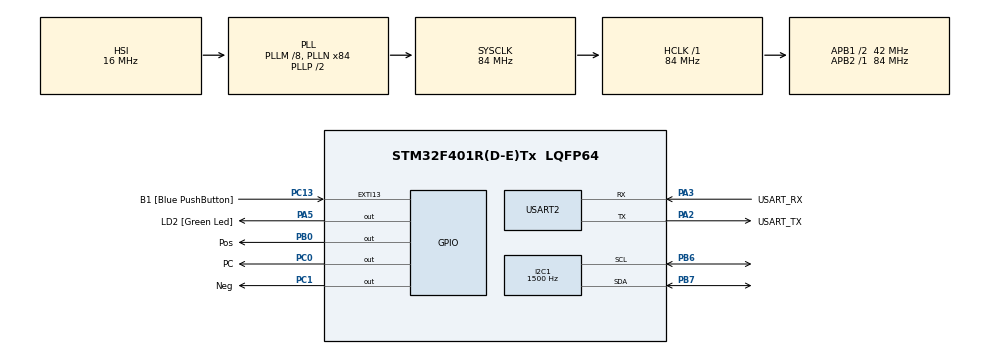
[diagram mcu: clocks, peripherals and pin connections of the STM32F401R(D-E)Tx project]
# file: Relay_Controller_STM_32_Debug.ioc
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Dma.I2C1_RX.1.Direction=DMA_PERIPH_TO_MEMORY
Dma.I2C1_RX.1.FIFOMode=DMA_FIFOMODE_DISABLE
Dma.I2C1_RX.1.Instance=DMA1_Stream0
Dma.I2C1_RX.1.MemDataAlignment=DMA_MDATAALIGN_BYTE
Dma.I2C1_RX.1.MemInc=DMA_MINC_ENABLE
Dma.I2C1_RX.1.Mode=DMA_NORMAL
Dma.I2C1_RX.1.PeriphDataAlignment=DMA_PDATAALIGN_BYTE
Dma.I2C1_RX.1.PeriphInc=DMA_PINC_DISABLE
Dma.I2C1_RX.1.Priority=DMA_PRIORITY_LOW
Dma.I2C1_TX.0.Direction=DMA_MEMORY_TO_PERIPH
Dma.I2C1_TX.0.FIFOMode=DMA_FIFOMODE_DISABLE
Dma.I2C1_TX.0.Instance=DMA1_Stream6
Dma.I2C1_TX.0.MemDataAlignment=DMA_MDATAALIGN_BYTE
Dma.I2C1_TX.0.MemInc=DMA_MINC_ENABLE
Dma.I2C1_TX.0.Mode=DMA_NORMAL
Dma.I2C1_TX.0.PeriphDataAlignment=DMA_PDATAALIGN_BYTE
Dma.I2C1_TX.0.PeriphInc=DMA_PINC_DISABLE
Dma.I2C1_TX.0.Priority=DMA_PRIORITY_LOW
Dma.Request0=I2C1_TX
Dma.Request1=I2C1_RX
I2C1.ClockSpeed=1500
Mcu.Family=STM32F4
Mcu.Name=STM32F401R(D-E)Tx
Mcu.Package=LQFP64
NVIC.DMA1_Stream0_IRQn=true\:0\:0\:false\:false\:true\:false\:true\:true
NVIC.DMA1_Stream6_IRQn=true\:0\:0\:false\:false\:true\:false\:true\:true
NVIC.I2C1_ER_IRQn=true\:0\:0\:false\:false\:true\:true\:true\:true
NVIC.I2C1_EV_IRQn=true\:0\:0\:false\:false\:true\:true\:true\:true
NVIC.PriorityGroup=NVIC_PRIORITYGROUP_4
PA13.GPIO_Label=TMS
PA13.Mode=Trace_Asynchronous_SW
PA13.Signal=SYS_JTMS-SWDIO
PA14.GPIO_Label=TCK
PA14.Mode=Trace_Asynchronous_SW
PA14.Signal=SYS_JTCK-SWCLK
PA2.GPIO_Label=USART_TX
PA2.GPIO_Mode=GPIO_MODE_AF_PP
PA2.GPIO_PuPd=GPIO_NOPULL
PA2.GPIO_Speed=GPIO_SPEED_FREQ_LOW
PA2.Mode=Asynchronous
PA2.Signal=USART2_TX
PA3.GPIO_Label=USART_RX
PA3.GPIO_Mode=GPIO_MODE_AF_PP
PA3.GPIO_PuPd=GPIO_NOPULL
PA3.GPIO_Speed=GPIO_SPEED_FREQ_LOW
PA3.Mode=Asynchronous
PA3.Signal=USART2_RX
PA5.GPIO_Label=LD2 [Green Led]
PA5.GPIO_Mode=GPIO_MODE_OUTPUT_PP
PA5.GPIO_PuPd=GPIO_NOPULL
PA5.GPIO_Speed=GPIO_SPEED_FREQ_LOW
PA5.Signal=GPIO_Output
PB0.GPIO_Label=Pos
PB0.Signal=GPIO_Output
PB3.GPIO_Label=SWO
PB3.Mode=Trace_Asynchronous_SW
PB3.Signal=SYS_JTDO-SWO
PB6.GPIO_Pu=GPIO_PULLUP
PB6.Mode=I2C
PB6.Signal=I2C1_SCL
PB7.GPIO_Pu=GPIO_PULLUP
PB7.Mode=I2C
PB7.Signal=I2C1_SDA
PC0.GPIO_Label=PC
PC0.Signal=GPIO_Output
PC1.GPIO_Label=Neg
PC1.Signal=GPIO_Output
PC13-ANTI_TAMP.GPIO_Label=B1 [Blue PushButton]
PC13-ANTI_TAMP.GPIO_ModeDefaultEXTI=GPIO_MODE_IT_FALLING
PC13-ANTI_TAMP.GPIO_PuPd=GPIO_NOPULL
PC13-ANTI_TAMP.Signal=GPXTI13
PC14-OSC32_IN.Mode=LSE-External-Oscillator
PC14-OSC32_IN.Signal=RCC_OSC32_IN
PC15-OSC32_OUT.Mode=LSE-External-Oscillator
PC15-OSC32_OUT.Signal=RCC_OSC32_OUT
PH0\ -\ OSC_IN.Mode=HSE-External-Clock-Source
PH0\ -\ OSC_IN.Signal=RCC_OSC_IN
PH1\ -\ OSC_OUT.Mode=HSE-External-Clock-Source
PH1\ -\ OSC_OUT.Signal=RCC_OSC_OUT
ProjectManager.HeapSize=0x200
ProjectManager.StackSize=0x400
ProjectManager.TargetToolchain=STM32CubeIDE
RCC.48MHZClocksFreq_Value=24000000
RCC.AHBFreq_Value=84000000
RCC.APB1CLKDivider=RCC_HCLK_DIV2
RCC.APB1Freq_Value=42000000
RCC.APB1TimFreq_Value=84000000
RCC.APB2Freq_Value=84000000
RCC.APB2TimFreq_Value=84000000
RCC.CortexFreq_Value=84000000
RCC.HCLKFreq_Value=84000000
RCC.HSE_VALUE=8000000
RCC.HSI_VALUE=16000000
RCC.PLLM=8
RCC.PLLN=84
RCC.PLLQ=7
RCC.SYSCLKFreq_VALUE=84000000
RCC.SYSCLKSource=RCC_SYSCLKSOURCE_PLLCLK
RCC.VCOOutputFreq_Value=168000000
USART2.VirtualMode=VM_ASYNC
board=NUCLEO-F401RE

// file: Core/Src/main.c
/* USER CODE BEGIN Header */
/**
  ******************************************************************************
  * @file           : main.c
  * @brief          : Main program body
  ******************************************************************************
  * @attention
  *
  * Copyright (c) 2025 STMicroelectronics.
  * All rights reserved.
  *
  * This software is licensed under terms that can be found in the LICENSE file
  * in the root directory of this software component.
  * If no LICENSE file comes with this software, it is provided AS-IS.
  *
  ******************************************************************************
  */
/* USER CODE END Header */
#include "main.h"

/* USER CODE BEGIN Includes */
#include "stdio.h"
#include "stdint.h"
#include "stdbool.h"
/* USER CODE END Includes */

I2C_HandleTypeDef hi2c1;
DMA_HandleTypeDef hdma_i2c1_tx;
DMA_HandleTypeDef hdma_i2c1_rx;

UART_HandleTypeDef huart2;

void SystemClock_Config(void);
static void MX_GPIO_Init(void);
static void MX_DMA_Init(void);
static void MX_USART2_UART_Init(void);
static void MX_I2C1_Init(void);

/* USER CODE BEGIN 0 */
#define LTC4151_ADDR 0x67 //page 11 for ADR1 H and ADR0 L, left shift by 1
#define CTRL_REGISTER 0x06 //hexadecimal address 6
#define CTRL_ADDR_CONFIG 0x0C //hexadecimal for 00001100 config
#define VIN_REGISTER_A 0x00
#define VIN_REGISTER_B 0x01
#define VIN_REGISTER_C 0x02
#define VIN_REGISTER_D 0x03

//uint8_t CTRL_ADDR_CONFIG = 0x0C;

/* FORMAT
HAL_I2C_Master_Transmit(hi2c, DevAddress (8 bits), pData, Size, Timeout);
HAL_I2C_Master_Read(hi2c, DevAddress | 0x01 (8 bits), pData, Size, Timeout);
*/

void LTC4151_Init(void)
{
	/*
	CONTROL Register G (0x06) 0b00001100
	*/
    uint8_t Config = 0x0C; //initialize 8 bit (1 byte) unsigned integer
    uint8_t *pConfig = &Config; //create pointer to hold address of Config data

    HAL_StatusTypeDef status = HAL_I2C_Mem_Write(&hi2c1, (LTC4151_ADDR << 1), CTRL_REGISTER, I2C_MEMADD_SIZE_8BIT, pConfig, 1, 1000000);
	if (status == HAL_OK)
	{
		printf("I2C Write OK: Value 0x%02X written to register 0x%02X.\n", Config, CTRL_REGISTER);
	}
	else
	{
		printf("I2C Write Error: HAL_Status = %d\n", status);
	}
}

void LTC4151_Read(void)
{
    /*
     * Vin Register A (0x02) and B (0x03) A7:0, B7:4
     * HAL_I2C_Master_Read(hi2c, DevAddress (8 bits), pData, Size (# of Bytes), Timeout);
     */
    uint8_t Data1, Data2;
    HAL_StatusTypeDef status1, status2;

    status1 = HAL_I2C_Mem_Read(&hi2c1, (LTC4151_ADDR << 1), VIN_REGISTER_C, I2C_MEMADD_SIZE_8BIT, &Data1, 1, 1000000);
    status2 = HAL_I2C_Mem_Read(&hi2c1, (LTC4151_ADDR << 1), VIN_REGISTER_D, I2C_MEMADD_SIZE_8BIT, &Data2, 1, 1000000);

    if (status1 != HAL_OK)
    {
        printf("I2C Read Error from VIN_REGISTER_C: %d\n", status1);
        LTC4151_Init(); //Reinitialize Device
    }
    if (status2 != HAL_OK)
    {
        printf("I2C Read Error from VIN_REGISTER_D: %d\n", status2);
        LTC4151_Init(); //Reinitialize Device
    }

    // Combine the data (check datasheet)
    int Data = (Data1 << 4) | (Data2 >> 4);

    printf("Value: %u\n", Data / 40);
}

/* USER CODE END 0 */

int main(void)
{

  /* MCU Configuration--------------------------------------------------------*/

  /* Reset of all peripherals, Initializes the Flash interface and the Systick. */
  HAL_Init();

  /* Configure the system clock */
  SystemClock_Config();

  /* Initialize all configured peripherals */
  MX_GPIO_Init();
  MX_DMA_Init();
  MX_USART2_UART_Init();
  MX_I2C1_Init();
  /* USER CODE BEGIN 2 */
  LTC4151_Init();
  //HAL_Delay(500);
  /* USER CODE END 2 */

  /* Infinite loop */
  while (1)
  {

    /* USER CODE BEGIN 3 */
	LTC4151_Read();
	PrechargeProcedure();
	//HAL_Delay(500);
  }
  /* USER CODE END 3 */
}

void SystemClock_Config(void)
{
  RCC_OscInitTypeDef RCC_OscInitStruct = {0};
  RCC_ClkInitTypeDef RCC_ClkInitStruct = {0};

  /** Configure the main internal regulator output voltage
  */
  __HAL_RCC_PWR_CLK_ENABLE();
  __HAL_PWR_VOLTAGESCALING_CONFIG(PWR_REGULATOR_VOLTAGE_SCALE2);

  /** Initializes the RCC Oscillators according to the specified parameters
  * in the RCC_OscInitTypeDef structure.
  */
  RCC_OscInitStruct.OscillatorType = RCC_OSCILLATORTYPE_HSI;
  RCC_OscInitStruct.HSIState = RCC_HSI_ON;
  RCC_OscInitStruct.HSICalibrationValue = RCC_HSICALIBRATION_DEFAULT;
  RCC_OscInitStruct.PLL.PLLState = RCC_PLL_ON;
  RCC_OscInitStruct.PLL.PLLSource = RCC_PLLSOURCE_HSI;
  RCC_OscInitStruct.PLL.PLLM = 8;
  RCC_OscInitStruct.PLL.PLLN = 84;
  RCC_OscInitStruct.PLL.PLLP = RCC_PLLP_DIV2;
  RCC_OscInitStruct.PLL.PLLQ = 7;
  if (HAL_RCC_OscConfig(&RCC_OscInitStruct) != HAL_OK)
  {
    Error_Handler();
  }

  /** Initializes the CPU, AHB and APB buses clocks
  */
  RCC_ClkInitStruct.ClockType = RCC_CLOCKTYPE_HCLK|RCC_CLOCKTYPE_SYSCLK
                              |RCC_CLOCKTYPE_PCLK1|RCC_CLOCKTYPE_PCLK2;
  RCC_ClkInitStruct.SYSCLKSource = RCC_SYSCLKSOURCE_PLLCLK;
  RCC_ClkInitStruct.AHBCLKDivider = RCC_SYSCLK_DIV1;
  RCC_ClkInitStruct.APB1CLKDivider = RCC_HCLK_DIV2;
  RCC_ClkInitStruct.APB2CLKDivider = RCC_HCLK_DIV1;

  if (HAL_RCC_ClockConfig(&RCC_ClkInitStruct, FLASH_LATENCY_2) != HAL_OK)
  {
    Error_Handler();
  }
}

static void MX_I2C1_Init(void)
{

  hi2c1.Instance = I2C1;
  hi2c1.Init.ClockSpeed = 1500;
  hi2c1.Init.DutyCycle = I2C_DUTYCYCLE_2;
  hi2c1.Init.OwnAddress1 = 0;
  hi2c1.Init.AddressingMode = I2C_ADDRESSINGMODE_7BIT;
  hi2c1.Init.DualAddressMode = I2C_DUALADDRESS_DISABLE;
  hi2c1.Init.OwnAddress2 = 0;
  hi2c1.Init.GeneralCallMode = I2C_GENERALCALL_DISABLE;
  hi2c1.Init.NoStretchMode = I2C_NOSTRETCH_DISABLE;
  if (HAL_I2C_Init(&hi2c1) != HAL_OK)
  {
    Error_Handler();
  }

}

static void MX_USART2_UART_Init(void)
{

  huart2.Instance = USART2;
  huart2.Init.BaudRate = 115200;
  huart2.Init.WordLength = UART_WORDLENGTH_8B;
  huart2.Init.StopBits = UART_STOPBITS_1;
  huart2.Init.Parity = UART_PARITY_NONE;
  huart2.Init.Mode = UART_MODE_TX_RX;
  huart2.Init.HwFlowCtl = UART_HWCONTROL_NONE;
  huart2.Init.OverSampling = UART_OVERSAMPLING_16;
  if (HAL_UART_Init(&huart2) != HAL_OK)
  {
    Error_Handler();
  }

}

static void MX_DMA_Init(void)
{

  /* DMA controller clock enable */
  __HAL_RCC_DMA1_CLK_ENABLE();

  /* DMA interrupt init */
  /* DMA1_Stream0_IRQn interrupt configuration */
  HAL_NVIC_SetPriority(DMA1_Stream0_IRQn, 0, 0);
  HAL_NVIC_EnableIRQ(DMA1_Stream0_IRQn);
  /* DMA1_Stream6_IRQn interrupt configuration */
  HAL_NVIC_SetPriority(DMA1_Stream6_IRQn, 0, 0);
  HAL_NVIC_EnableIRQ(DMA1_Stream6_IRQn);

}

static void MX_GPIO_Init(void)
{
  GPIO_InitTypeDef GPIO_InitStruct = {0};

  /* GPIO Ports Clock Enable */
  __HAL_RCC_GPIOC_CLK_ENABLE();
  __HAL_RCC_GPIOH_CLK_ENABLE();
  __HAL_RCC_GPIOA_CLK_ENABLE();
  __HAL_RCC_GPIOB_CLK_ENABLE();

  /*Configure GPIO pin Output Level */
  HAL_GPIO_WritePin(LD2_GPIO_Port, LD2_Pin, GPIO_PIN_RESET);

  /*Configure GPIO pin : B1_Pin */
  GPIO_InitStruct.Pin = B1_Pin;
  GPIO_InitStruct.Mode = GPIO_MODE_IT_FALLING;
  GPIO_InitStruct.Pull = GPIO_NOPULL;
  HAL_GPIO_Init(B1_GPIO_Port, &GPIO_InitStruct);

  /*Configure GPIO pin : LD2_Pin */
  GPIO_InitStruct.Pin = LD2_Pin;
  GPIO_InitStruct.Mode = GPIO_MODE_OUTPUT_PP;
  GPIO_InitStruct.Pull = GPIO_NOPULL;
  GPIO_InitStruct.Speed = GPIO_SPEED_FREQ_LOW;
  HAL_GPIO_Init(LD2_GPIO_Port, &GPIO_InitStruct);

}

/* USER CODE BEGIN 4 */
int _write(int file, char *ptr, int len)
{
  (void)file;
  int DataIdx;

  for (DataIdx = 0; DataIdx < len; DataIdx++)
  {
    ITM_SendChar(*ptr++);
  }
  return len;
}
/* USER CODE END 4 */

void Error_Handler(void)
{
  __disable_irq();
  while (1)
  {
  }
}
